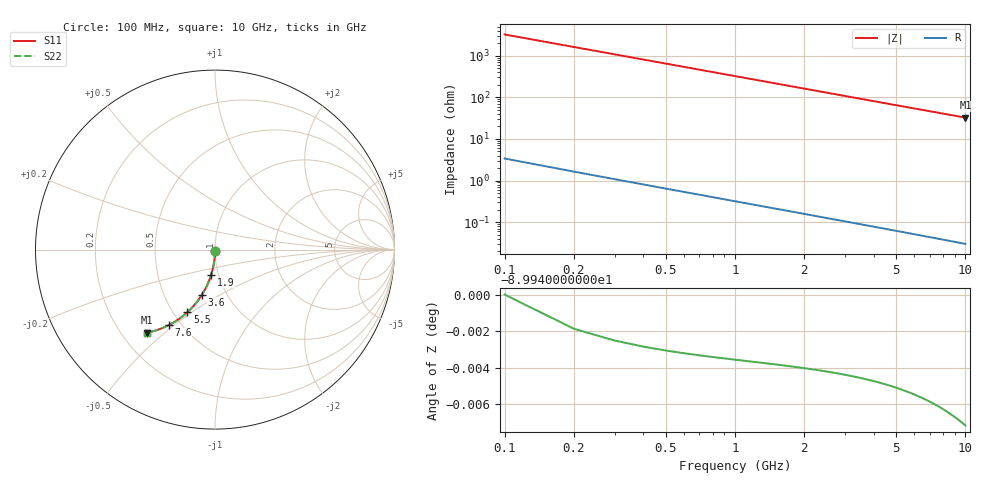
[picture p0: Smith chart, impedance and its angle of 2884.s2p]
# Hz S RI R 50.00
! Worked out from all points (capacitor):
!   100 points, 100 MHz to 10 GHz, reference 50 ohm
!   read as one part in shunt: C = 492 fF near 100 MHz
!   lowest |Z| = 32.6 ohm at 10 GHz (marker M1)
!   S11 on the Smith chart (normalised r, x): 100 MHz: 1.00, -0.02; 1.9 GHz: 0.92, -0.26; 3.6 GHz: 0.77, -0.41; 5.5 GHz: 0.59, -0.48; 7.6 GHz: 0.43, -0.48; 10 GHz: 0.30, -0.44
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1e8  1.72e-05 -0.00752  0.9998 -0.00794  0.9998 -0.00794  1.72e-05 -0.00752
2e8  -0.000169 -0.015  0.9997 -0.0159  0.9997 -0.0159  -0.000169 -0.015
3e8  -0.000474 -0.0225  0.9994 -0.0238  0.9994 -0.0238  -0.000474 -0.0225
4e8  -0.000899 -0.03  0.9989 -0.0317  0.9989 -0.0317  -0.000899 -0.03
5e8  -0.00144 -0.0375  0.9984 -0.0397  0.9984 -0.0397  -0.00144 -0.0375
6e8  -0.0021 -0.045  0.9977 -0.0476  0.9977 -0.0476  -0.0021 -0.045
8e8  -0.00378 -0.0599  0.996 -0.0633  0.996 -0.0633  -0.00378 -0.0599
1.1e9  -0.00717 -0.0821  0.9926 -0.0868  0.9926 -0.0868  -0.00717 -0.0821
1.4e9  -0.0116 -0.104  0.9882 -0.11  0.9882 -0.11  -0.0116 -0.104
1.8e9  -0.019 -0.1327  0.9807 -0.1404  0.9807 -0.1404  -0.019 -0.1327
1.9e9  -0.0212 -0.1398  0.9786 -0.1479  0.9786 -0.1479  -0.0212 -0.1398
2.2e9  -0.0282 -0.1606  0.9716 -0.1701  0.9716 -0.1701  -0.0282 -0.1606
2.6e9  -0.039 -0.1877  0.9608 -0.1989  0.9608 -0.1989  -0.039 -0.1877
3.4e9  -0.0649 -0.2388  0.9348 -0.2534  0.9348 -0.2534  -0.0649 -0.2388
3.6e9  -0.0722 -0.2508  0.9275 -0.2663  0.9275 -0.2663  -0.0722 -0.2508
4.3e9  -0.1 -0.2905  0.8997 -0.309  0.8997 -0.309  -0.1 -0.2905
5.1e9  -0.1353 -0.3308  0.8643 -0.3528  0.8643 -0.3528  -0.1353 -0.3308
5.5e9  -0.154 -0.3489  0.8455 -0.3726  0.8455 -0.3726  -0.154 -0.3489
6.7e9  -0.2131 -0.3947  0.7863 -0.4237  0.7863 -0.4237  -0.2131 -0.3947
7.6e9  -0.2587 -0.4212  0.7405 -0.4541  0.7405 -0.4541  -0.2587 -0.4212
8.4e9  -0.2993 -0.4394  0.6998 -0.4759  0.6998 -0.4759  -0.2993 -0.4394
1e10  -0.378 -0.4627  0.6208 -0.5063  0.6208 -0.5063  -0.378 -0.4627
